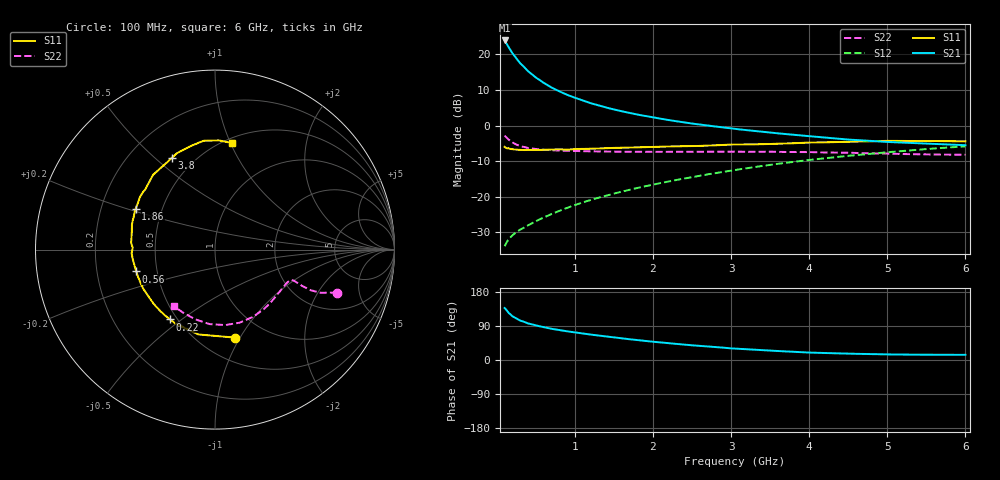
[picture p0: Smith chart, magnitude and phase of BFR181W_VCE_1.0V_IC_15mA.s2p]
! Infineon Technologies  Discrete & RF Semiconductors
! BFR181W
! VCE =  1.0 V,  IC =  15 mA
! Common Emitter S-Parameters:  Nov 2015
# GHz  S  MA  R  50
!  f  S11  S21  S12  S22
! GHz  MAG  ANG  MAG  ANG  MAG  ANG  MAG  ANG
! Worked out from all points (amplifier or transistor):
!   192 points, 100 MHz to 6 GHz, reference 50 ohm
!   highest |S21| = 23.9 dB at 100 MHz (marker M1)
!   |S21| within 3 dB of that: start of sweep to 183.6 MHz
!   unconditionally stable (mu >= 1): 267.3 MHz to end of sweep
!   at 440 MHz: K = 1.29, MAG = 17.9 dB, |S12| = -27.6 dB
!   at 1.7 GHz: K = 1.52, MAG = 6.5 dB, |S12| = -18.0 dB
!   at 6 GHz: K = 1.18, MAG = -2.4 dB, |S12| = -5.8 dB
!   S11 on the Smith chart (normalised r, x): 100 MHz: 0.73, -0.95; 220 MHz: 0.46, -0.45; 560 MHz: 0.38, -0.12; 1.86 GHz: 0.35, +0.21; 3.8 GHz: 0.38, +0.57; 6 GHz: 0.54, +1.01
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0.1  0.5028 -77.2  15.72 137.2  0.0202 61.2  0.7211 -19.4
0.15  0.4818 -101.1  12.67 124.4  0.0252 56.3  0.6368 -22.2
0.2  0.4675 -118.1  10.42 115.4  0.0287 54.3  0.5797 -23.0
0.22  0.4623 -122.7  9.736 113.1  0.0299 54.3  0.5639 -22.9
0.26  0.4586 -131.5  8.498 108.2  0.0323 54.4  0.5352 -22.7
0.3  0.4561 -138.7  7.509 104.0  0.0345 55.0  0.5156 -22.4
0.34  0.4532 -143.9  6.817 101.4  0.0365 56.1  0.5031 -22.1
0.4  0.4558 -151.7  5.812 96.5  0.0395 57.6  0.4843 -21.7
0.5  0.4552 -160.5  4.731 91.1  0.0453 60.2  0.4678 -21.5
0.56  0.4552 -164.5  4.282 88.5  0.0488 61.6  0.4613 -21.7
0.7  0.4608 -172.7  3.432 82.4  0.0571 64.8  0.4507 -22.5
0.8  0.4651 -177.4  3.031 78.9  0.0633 66.3  0.4456 -23.4
0.9  0.4588 178.8  2.702 75.7  0.0698 67.9  0.4424 -24.4
1.1  0.4698 172.0  2.26 70.0  0.0832 69.7  0.4369 -27.1
1.4  0.4831 163.4  1.793 61.9  0.1038 71.4  0.4312 -31.5
1.86  0.4973 152.6  1.39 51.3  0.1375 72.4  0.4274 -39.1
2.08  0.5039 147.9  1.259 46.7  0.1544 72.5  0.4274 -43.0
3.1  0.5418 127.8  0.886 29.6  0.2422 69.1  0.4291 -62.7
3.8  0.5652 115.0  0.743 21.7  0.3092 64.3  0.4248 -77.9
4.1  0.5793 109.9  0.695 19.1  0.3378 61.9  0.4213 -84.6
5.1  0.6085 94.4  0.583 14.5  0.4306 52.9  0.4008 -107.6
6  0.6012 81.2  0.53 13.7  0.5116 43.9  0.3897 -126.1
